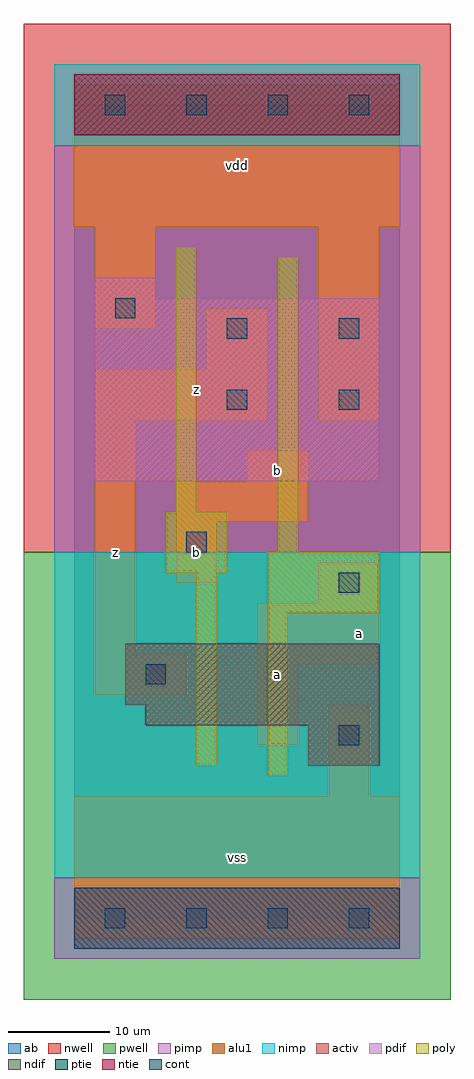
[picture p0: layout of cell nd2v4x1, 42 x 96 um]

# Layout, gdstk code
import gdstk
lib = gdstk.Library(unit=1e-6, precision=1e-09)
def R(c, l, rs):  # rectangles x0, y0, x1, y1
    for r in rs: c.add(gdstk.rectangle(r[:2], r[2:], *l))
def A(c, l, x, y, w, h, nx, ny, dx, dy):  # array of equal rectangles
    R(c, l, [(x+i*dx, y+j*dy, x+i*dx+w, y+j*dy+h) for i in range(nx) for j in range(ny)])
ndif = (3, 0)
pdif = (4, 0)
ntie = (5, 0)
ptie = (6, 0)
cont = (25, 0)
pwell = (41, 0)
nwell = (42, 0)
activ = (43, 0)
pimp = (44, 0)
nimp = (45, 0)
poly = (46, 0)
alu1 = (49, 0)
ab = (63, 0)

nd2v4x1 = lib.new_cell('nd2v4x1')
R(nd2v4x1, ndif, [(23,15,30,19), (7,19,30,21), (5,21,30,27)])
R(nd2v4x1, pdif, [(2,43,30,61), (2,61,8,63)])
R(nd2v4x1, ntie, [(0,77,32,83)])
R(nd2v4x1, ptie, [(0,-3,32,3)])
A(nd2v4x1, cont, 3, -1, 2, 2, 4, 2, 8, 80)
R(nd2v4x1, cont, [(26,17,28,19), (7,23,9,25), (26,32,28,34), (11,36,13,38), (15,50,17,52), (26,50,28,52), (15,57,17,59), (26,57,28,59), (4,59,6,61)])
R(nd2v4x1, pwell, [(-5,-8,37,36)])
R(nd2v4x1, nwell, [(-5,36,37,88)])
R(nd2v4x1, activ, [(0,-3,32,3), (23,15,30,19), (7,19,30,21), (5,21,30,27), (2,43,30,61), (2,61,8,63), (0,77,32,83)])
R(nd2v4x1, pimp, [(-2,-4,34,4), (-2,36,34,76)])
R(nd2v4x1, nimp, [(-2,4,34,36), (-2,76,34,84)])
R(nd2v4x1, poly, [(19,14,21,30), (12,15,14,34), (19,30,30,36), (9,34,15,40), (20,36,22,65), (10,40,12,66)])
R(nd2v4x1, alu1, [(0,-2,32,12), (25,12,29,21), (18,17,22,25), (2,22,11,26), (18,25,30,31), (2,26,6,49), (24,31,30,35), (10,33,14,39), (10,39,23,43), (17,43,23,46), (2,49,19,54), (24,49,30,68), (13,54,19,60), (2,58,8,68), (0,68,32,82)])
R(nd2v4x1, ab, [(0,0,32,80)])
nd2v4x1.add(gdstk.Label('z', (4,36), layer=49, texttype=0))
nd2v4x1.add(gdstk.Label('b', (12,36), layer=49, texttype=0))
nd2v4x1.add(gdstk.Label('z', (12,52), layer=49, texttype=0))
nd2v4x1.add(gdstk.Label('vss', (16,6), layer=49, texttype=0))
nd2v4x1.add(gdstk.Label('a', (20,24), layer=49, texttype=0))
nd2v4x1.add(gdstk.Label('b', (20,44), layer=49, texttype=0))
nd2v4x1.add(gdstk.Label('vdd', (16,74), layer=49, texttype=0))
nd2v4x1.add(gdstk.Label('a', (28,28), layer=49, texttype=0))

lib.write_gds('nd2v4x1.gds')
